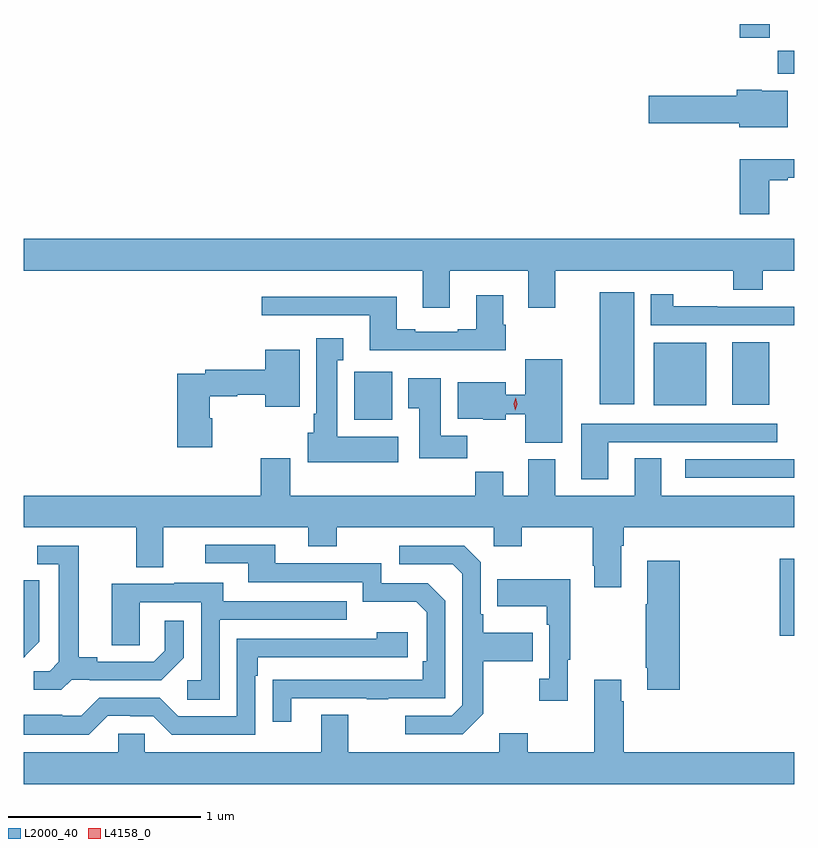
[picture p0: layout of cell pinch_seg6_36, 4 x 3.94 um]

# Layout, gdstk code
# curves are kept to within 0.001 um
import gdstk
lib = gdstk.Library(unit=1e-6, precision=1e-09)
def R(c, l, rs):  # rectangles x0, y0, x1, y1
    for r in rs: c.add(gdstk.rectangle(r[:2], r[2:], *l))
def P(c, l, *ps):  # polygons
    for p in ps: c.add(gdstk.Polygon(p, *l))
L2000_40 = (2000, 40)
L4158_0 = (4158, 0)

pinch_seg6_36 = lib.new_cell('pinch_seg6_36')
R(pinch_seg6_36, L2000_40, [(928.364,957.428,928.441,957.829), (927.873,958.248,928.441,958.344), (926.157,958.55,926.353,958.8), (927.71,958.625,927.982,958.948), (928.118,958.628,928.309,958.951), (927.431,958.631,927.61,959.212), (928.354,960.344,928.441,960.463), (928.157,960.532,928.313,960.603)])
P(pinch_seg6_36, L2000_40, [(928.405,960.256),(928.272,960.256),(928.272,960.262),(928.142,960.262),(928.142,960.231),(927.684,960.231),(927.684,960.089),(928.154,960.089),(928.154,960.068),(928.405,960.068)],
  [(928.309,959.793),(928.405,959.793),(928.405,959.805),(928.441,959.805),(928.441,959.902),(928.157,959.902),(928.157,959.616),(928.309,959.616)],
  [(926.653,959.324),(927.059,959.324),(927.059,959.13),(927.199,959.13),(927.199,959.324),(928.124,959.324),(928.124,959.225),(928.276,959.225),(928.276,959.324),(928.441,959.324),(928.441,959.488),(924.441,959.488),(924.441,959.324),(926.513,959.324),(926.513,959.13),(926.653,959.13)],
  [(928.441,959.136),(928.04,959.136),(928.04,959.138),(927.813,959.138),(927.813,959.2),(927.695,959.2),(927.695,959.04),(928.441,959.04)],
  [(926.942,959.042),(926.929,959.042),(926.929,959.197),(926.789,959.197),(926.789,959.02),(926.693,959.02),(926.693,959.007),(926.473,959.007),(926.473,959.02),(926.377,959.02),(926.377,959.188),(925.677,959.188),(925.677,959.091),(926.237,959.091),(926.237,958.91),(926.942,958.91)],
  [(926.386,958.462),(926.068,958.462),(926.068,958.859),(926.101,958.859),(926.101,958.972),(925.961,958.972),(925.961,958.582),(925.946,958.582),(925.946,958.482),(925.916,958.482),(925.916,958.328),(926.386,958.328)],
  [(925.421,958.557),(925.408,958.557),(925.408,958.672),(925.551,958.672),(925.551,958.68),(925.694,958.68),(925.694,958.616),(925.873,958.616),(925.873,958.912),(925.694,958.912),(925.694,958.808),(925.384,958.808),(925.384,958.788),(925.238,958.788),(925.238,958.407),(925.421,958.407)],
  [(927.235,958.864),(927.044,958.864),(927.044,958.68),(926.944,958.68),(926.944,958.744),(926.693,958.744),(926.693,958.556),(926.826,958.556),(926.826,958.55),(926.944,958.55),(926.944,958.579),(927.044,958.579),(927.044,958.43),(927.235,958.43)],
  [(926.744,958.468),(926.605,958.468),(926.605,958.765),(926.438,958.765),(926.438,958.609),(926.495,958.609),(926.495,958.35),(926.744,958.35)],
  [(927.475,958.434),(928.351,958.434),(928.351,958.53),(927.335,958.53),(927.335,958.242),(927.475,958.242)],
  [(927.541,957.896),(927.554,957.896),(927.554,957.992),(928.441,957.992),(928.441,958.156),(927.751,958.156),(927.751,958.349),(927.611,958.349),(927.611,958.156),(927.199,958.156),(927.199,958.345),(927.059,958.345),(927.059,958.156),(926.929,958.156),(926.929,958.28),(926.785,958.28),(926.785,958.156),(925.825,958.156),(925.825,958.351),(925.673,958.351),(925.673,958.156),(924.441,958.156),(924.441,957.992),(925.025,957.992),(925.025,957.784),(925.165,957.784),(925.165,957.992),(925.919,957.992),(925.919,957.893),(926.067,957.893),(926.067,957.992),(926.88,957.992),(926.88,957.893),(927.027,957.893),(927.027,957.992),(927.394,957.992),(927.394,957.793),(927.401,957.793),(927.401,957.681),(927.541,957.681)],
  [(925.831,957.105),(926.221,957.105),(926.221,957.1),(926.333,957.1),(926.333,957.105),(926.628,957.105),(926.628,957.612),(926.538,957.702),(926.298,957.702),(926.298,957.804),(925.747,957.804),(925.747,957.9),(925.383,957.9),(925.383,957.804),(925.607,957.804),(925.607,957.708),(926.202,957.708),(926.202,957.605),(926.479,957.605),(926.532,957.552),(926.532,957.298),(926.512,957.298),(926.512,957.201),(925.735,957.2),(925.735,956.982),(925.831,956.982)],
  [(924.69,957.201),(924.784,957.201),(924.784,957.198),(925.156,957.198),(925.272,957.314),(925.272,957.508),(925.175,957.508),(925.175,957.351),(925.118,957.294),(924.823,957.294),(924.823,957.317),(924.727,957.317),(924.727,957.897),(924.513,957.897),(924.513,957.801),(924.623,957.801),(924.623,957.293),(924.576,957.246),(924.495,957.246),(924.495,957.149),(924.638,957.149)],
  [(926.827,957.025),(926.827,957.298),(927.083,957.298),(927.083,957.445),(926.827,957.445),(926.827,957.541),(926.814,957.541),(926.814,957.81),(926.727,957.897),(926.391,957.897),(926.391,957.801),(926.667,957.801),(926.718,957.75),(926.718,957.069),(926.664,957.015),(926.421,957.015),(926.421,956.919),(926.721,956.919)],
  [(927.845,957.817),(927.677,957.817),(927.677,957.593),(927.67,957.593),(927.67,957.262),(927.677,957.262),(927.677,957.15),(927.845,957.15)],
  [(927.265,957.305),(927.277,957.305),(927.277,957.721),(926.899,957.721),(926.899,957.581),(927.156,957.581),(927.156,957.485),(927.168,957.485),(927.168,957.206),(927.117,957.206),(927.117,957.093),(927.265,957.093)],
  [(924.45,957.324),(924.449,957.325),(924.522,957.398),(924.522,957.716),(924.441,957.716),(924.441,957.315)],
  [(925.458,957.513),(926.117,957.513),(926.117,957.609),(925.477,957.609),(925.477,957.703),(925.223,957.703),(925.223,957.699),(924.899,957.699),(924.899,957.379),(925.044,957.379),(925.044,957.603),(925.362,957.603),(925.362,957.198),(925.29,957.198),(925.29,957.097),(925.458,957.097)],
  [(924.879,957.015),(924.995,957.015),(924.995,957.012),(925.113,957.012),(925.209,956.916),(925.644,956.916),(925.644,957.221),(925.657,957.221),(925.657,957.318),(926.434,957.318),(926.434,957.448),(926.273,957.448),(926.273,957.414),(925.548,957.414),(925.548,957.012),(925.245,957.012),(925.149,957.108),(924.834,957.108),(924.741,957.015),(924.641,957.015),(924.641,957.019),(924.441,957.019),(924.441,956.915),(924.779,956.915)],
  [(928.441,956.824),(927.554,956.824),(927.554,957.089),(927.541,957.089),(927.541,957.202),(927.401,957.202),(927.401,956.824),(927.057,956.824),(927.057,956.923),(926.909,956.923),(926.909,956.824),(926.125,956.824),(926.125,957.019),(925.985,957.019),(925.985,956.824),(925.071,956.824),(925.071,956.922),(924.933,956.922),(924.933,956.824),(924.441,956.824),(924.441,956.66),(928.441,956.66)])
P(pinch_seg6_36, L4158_0, [(926.991,958.599),(926.991,958.599),(926.984,958.632),(926.996,958.664),(926.996,958.664),(926.996,958.664),(927.003,958.631),(926.991,958.599)])

lib.write_gds('pinch_seg6_36.gds')
